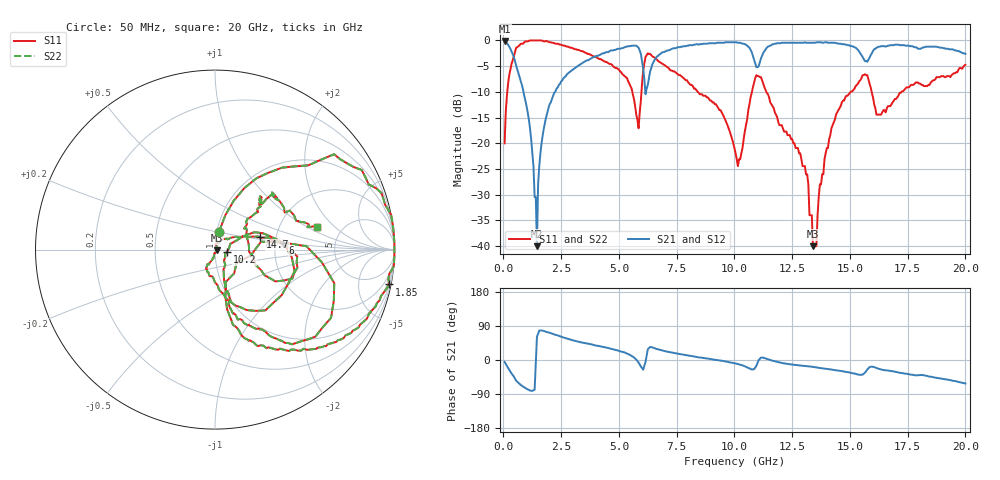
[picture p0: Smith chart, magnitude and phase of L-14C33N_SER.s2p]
# MHZ S MA R 50
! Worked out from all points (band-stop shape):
!   400 points, 50 MHz to 20 GHz, reference 50 ohm
!   highest |S21| = -0.09 dB at 50 MHz (marker M1); lowest = -40.0 dB at 1.45 GHz (marker M2)
!   |S21| within 3 dB of the highest: 6.654 GHz to 10.81 GHz (4.153 GHz wide, 47.6 % of centre); 11.19 GHz to 15.53 GHz (4.343 GHz wide, 32.5 % of centre) (the widest 2 of 5)
!   lowest |S11| = -40.0 dB at 13.4 GHz (marker M3), VSWR 1.02, Z = 50.9 - j0.403 ohm
!   |S11| at or under -10 dB: 8.419 GHz to 10.76 GHz (2.34 GHz wide, 24.4 % of centre); 11.38 GHz to 15.03 GHz (3.647 GHz wide, 27.6 % of centre); 15.94 GHz to 17.23 GHz (1.29 GHz wide, 7.77 % of centre) (the widest 3 of 5)
!   |S22| runs from -40.0 to 0.0 dB; largest |S21 - S12| = 0
!   S11 on the Smith chart (normalised r, x): 50 MHz: 1.02, +0.20; 1.85 GHz: 1, -10; 6 GHz: 2.20, +0.20; 10.2 GHz: 1.15, -0.04; 14.7 GHz: 1.64, +0.25; 20 GHz: 3.25, +1.23
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50  0.1 77.5  0.99 -4.9  0.99 -4.9  0.1 77.5
350  0.59 50.7  0.78 -35.5  0.78 -35.5  0.59 50.7
1100  0.99 13.0  0.17 -79.1  0.17 -79.1  0.99 13.0
1400  1 2.9  0.03 -8.6  0.03 -8.6  1 2.9
1450  1 1.6  0.01 61.0  0.01 61.0  1 1.6
1550  1 -2.1  0.06 77.7  0.06 77.7  1 -2.1
1850  0.99 -11.3  0.18 74.4  0.18 74.4  0.99 -11.3
3400  0.79 -44.5  0.6 46.1  0.6 46.1  0.79 -44.5
5350  0.43 -76.6  0.87 16.8  0.87 16.8  0.43 -76.6
5850  0.14 -30.3  0.85 -6.7  0.85 -6.7  0.14 -30.3
6000  0.38 5.9  0.63 -21.3  0.63 -21.3  0.38 5.9
6150  0.69 -15.7  0.3 -5.4  0.3 -5.4  0.69 -15.7
6700  0.63 -53.8  0.71 28.1  0.71 28.1  0.63 -53.8
10050  0.08 -51.6  0.96 -9.2  0.96 -9.2  0.08 -51.6
10200  0.07 -12.7  0.95 -11.4  0.95 -11.4  0.07 -12.7
11150  0.44 -50.3  0.67 6.4  0.67 6.4  0.44 -50.3
13350  0.02 -87.9  0.95 -17.9  0.95 -17.9  0.02 -87.9
13400  0.01 -23.3  0.95 -18.3  0.95 -18.3  0.01 -23.3
13950  0.08 47.5  0.96 -23.0  0.96 -23.0  0.08 47.5
14700  0.26 15.8  0.92 -29.8  0.92 -29.8  0.26 15.8
16700  0.23 40.3  0.89 -28.3  0.89 -28.3  0.23 40.3
20000  0.58 12.5  0.74 -62.0  0.74 -62.0  0.58 12.5
